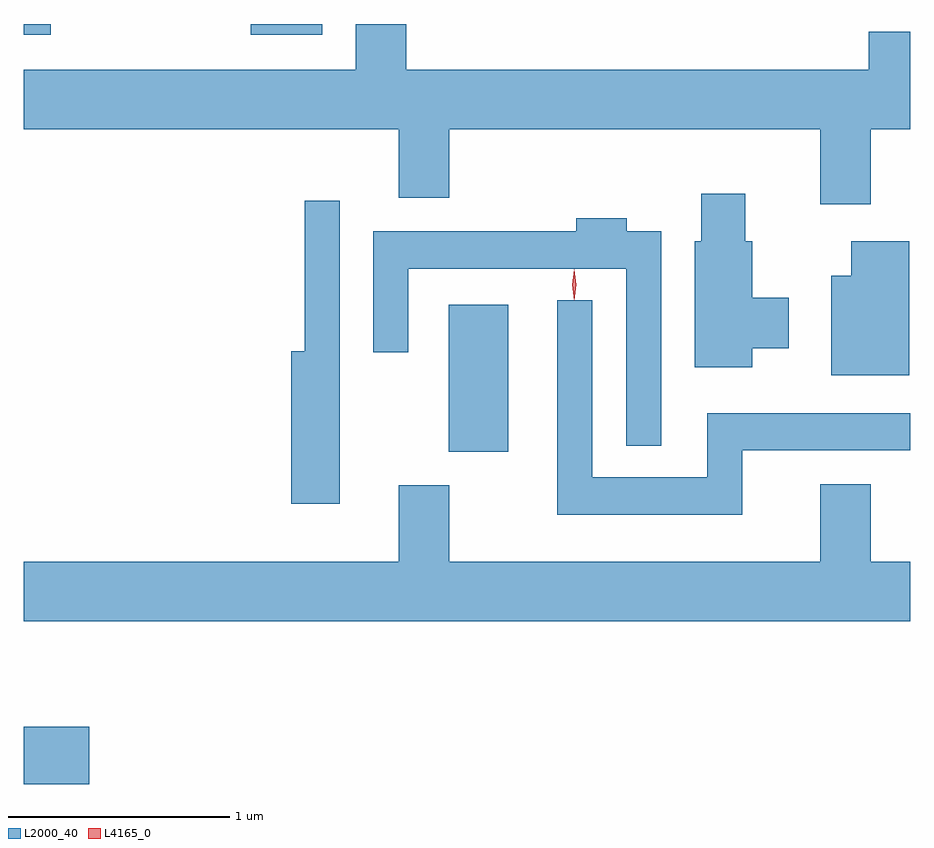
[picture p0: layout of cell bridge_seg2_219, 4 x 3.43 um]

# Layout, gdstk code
import gdstk
lib = gdstk.Library(unit=1e-6, precision=1e-09)
def R(c, l, rs):  # rectangles x0, y0, x1, y1
    for r in rs: c.add(gdstk.rectangle(r[:2], r[2:], *l))
def P(c, l, *ps):  # polygons
    for p in ps: c.add(gdstk.Polygon(p, *l))
L2000_40 = (2000, 40)
L4165_0 = (4165, 0)

bridge_seg2_219 = lib.new_cell('bridge_seg2_219')
R(bridge_seg2_219, L2000_40, [(544.498,1087.541,544.794,1087.799), (546.416,1089.041,546.684,1089.704), (544.498,1090.921,544.619,1090.97), (545.523,1090.921,545.844,1090.97)])
P(bridge_seg2_219, L2000_40, [(548.319,1090.496),(548.498,1090.496),(548.498,1090.934),(548.311,1090.934),(548.311,1090.764),(546.224,1090.764),(546.224,1090.97),(545.996,1090.97),(545.996,1090.764),(544.498,1090.764),(544.498,1090.496),(546.191,1090.496),(546.191,1090.186),(546.419,1090.186),(546.419,1090.496),(548.091,1090.496),(548.091,1090.156),(548.319,1090.156)],
  [(547.784,1089.506),(547.949,1089.506),(547.949,1089.734),(547.784,1089.734),(547.784,1089.989),(547.754,1089.989),(547.754,1090.204),(547.556,1090.204),(547.556,1089.989),(547.526,1089.989),(547.526,1089.421),(547.784,1089.421)],
  [(545.924,1090.173),(545.766,1090.173),(545.766,1089.494),(545.706,1089.494),(545.706,1088.806),(545.924,1088.806)],
  [(547.374,1090.034),(547.219,1090.034),(547.219,1090.094),(546.991,1090.094),(546.991,1090.034),(546.076,1090.034),(546.076,1089.488),(546.234,1089.488),(546.234,1089.866),(547.216,1089.866),(547.216,1089.068),(547.374,1089.068)],
  [(548.494,1089.989),(548.231,1089.989),(548.231,1089.834),(548.141,1089.834),(548.141,1089.386),(548.494,1089.386)],
  [(547.739,1089.046),(548.498,1089.046),(548.498,1089.214),(547.581,1089.214),(547.581,1088.924),(547.064,1088.924),(547.064,1089.723),(546.906,1089.723),(546.906,1088.756),(547.739,1088.756)],
  [(548.498,1088.544),(548.319,1088.544),(548.319,1088.894),(548.091,1088.894),(548.091,1088.544),(546.419,1088.544),(546.419,1088.889),(546.191,1088.889),(546.191,1088.544),(544.498,1088.544),(544.498,1088.276),(548.498,1088.276)])
P(bridge_seg2_219, L4165_0, [(546.982,1089.724),(546.982,1089.724),(546.972,1089.793),(546.982,1089.862),(546.982,1089.863),(546.983,1089.862),(546.992,1089.793),(546.983,1089.724)])

lib.write_gds('bridge_seg2_219.gds')
